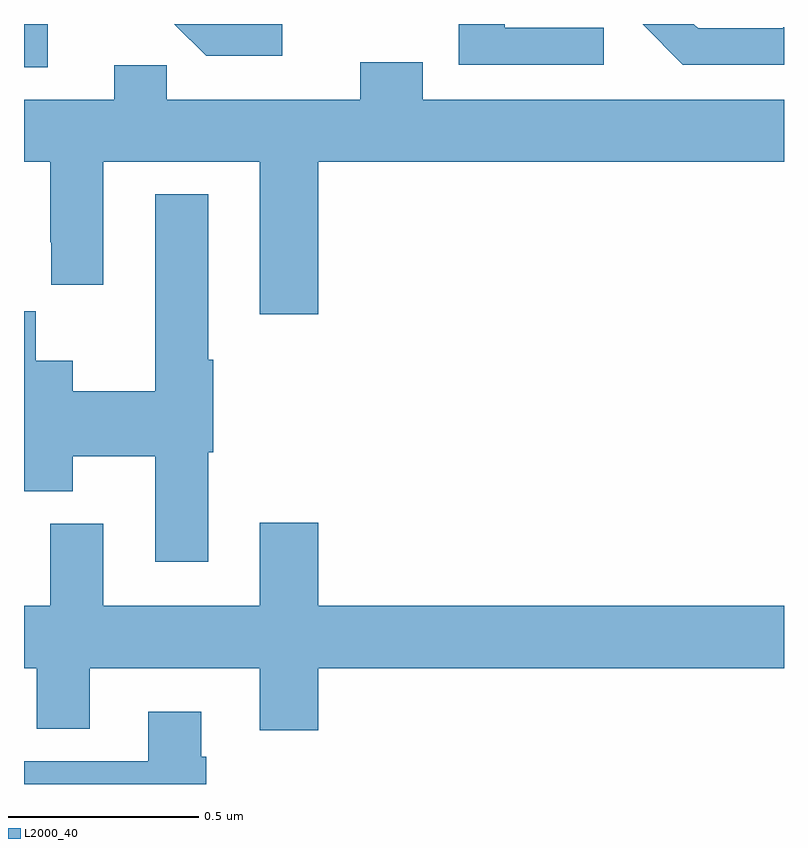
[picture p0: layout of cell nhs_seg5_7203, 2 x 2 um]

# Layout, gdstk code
import gdstk
lib = gdstk.Library(unit=1e-6, precision=1e-09)
def R(c, l, rs):  # rectangles x0, y0, x1, y1
    for r in rs: c.add(gdstk.rectangle(r[:2], r[2:], *l))
def P(c, l, *ps):  # polygons
    for p in ps: c.add(gdstk.Polygon(p, *l))
L2000_40 = (2000, 40)

nhs_seg5_7203 = lib.new_cell('nhs_seg5_7203')
R(nhs_seg5_7203, L2000_40, [(206,847.685,206.062,847.799)])
P(nhs_seg5_7203, L2000_40, [(208,847.79),(207.998,847.79),(207.998,847.788),(207.774,847.788),(207.763,847.799),(207.628,847.799),(207.734,847.692),(208,847.692)],
  [(206.68,847.799),(206.395,847.799),(206.479,847.715),(206.68,847.715)],
  [(207.526,847.789),(207.265,847.789),(207.265,847.799),(207.144,847.799),(207.144,847.692),(207.526,847.692)],
  [(206.774,847.436),(208,847.436),(208,847.6),(207.049,847.6),(207.049,847.699),(206.885,847.699),(206.885,847.6),(206.375,847.6),(206.375,847.691),(206.237,847.691),(206.237,847.6),(206,847.6),(206,847.436),(206.069,847.436),(206.069,847.225),(206.072,847.225),(206.072,847.113),(206.209,847.113),(206.209,847.436),(206.621,847.436),(206.621,847.035),(206.774,847.035)],
  [(206.485,846.672),(206.498,846.672),(206.498,846.916),(206.485,846.916),(206.485,847.351),(206.345,847.351),(206.345,846.833),(206.128,846.833),(206.128,846.913),(206.031,846.913),(206.031,847.043),(206,847.043),(206,846.569),(206.128,846.569),(206.128,846.661),(206.345,846.661),(206.345,846.384),(206.485,846.384)],
  [(206.774,846.104),(208,846.104),(208,846.268),(206.774,846.268),(206.774,846.487),(206.621,846.487),(206.621,846.268),(206.209,846.268),(206.209,846.484),(206.069,846.484),(206.069,846.268),(206,846.268),(206,846.104),(206.033,846.104),(206.033,845.944),(206.173,845.944),(206.173,846.104),(206.621,846.104),(206.621,845.94),(206.774,845.94)],
  [(206.48,845.871),(206.467,845.871),(206.467,845.989),(206.327,845.989),(206.327,845.859),(206,845.859),(206,845.799),(206.48,845.799)])

lib.write_gds('nhs_seg5_7203.gds')
